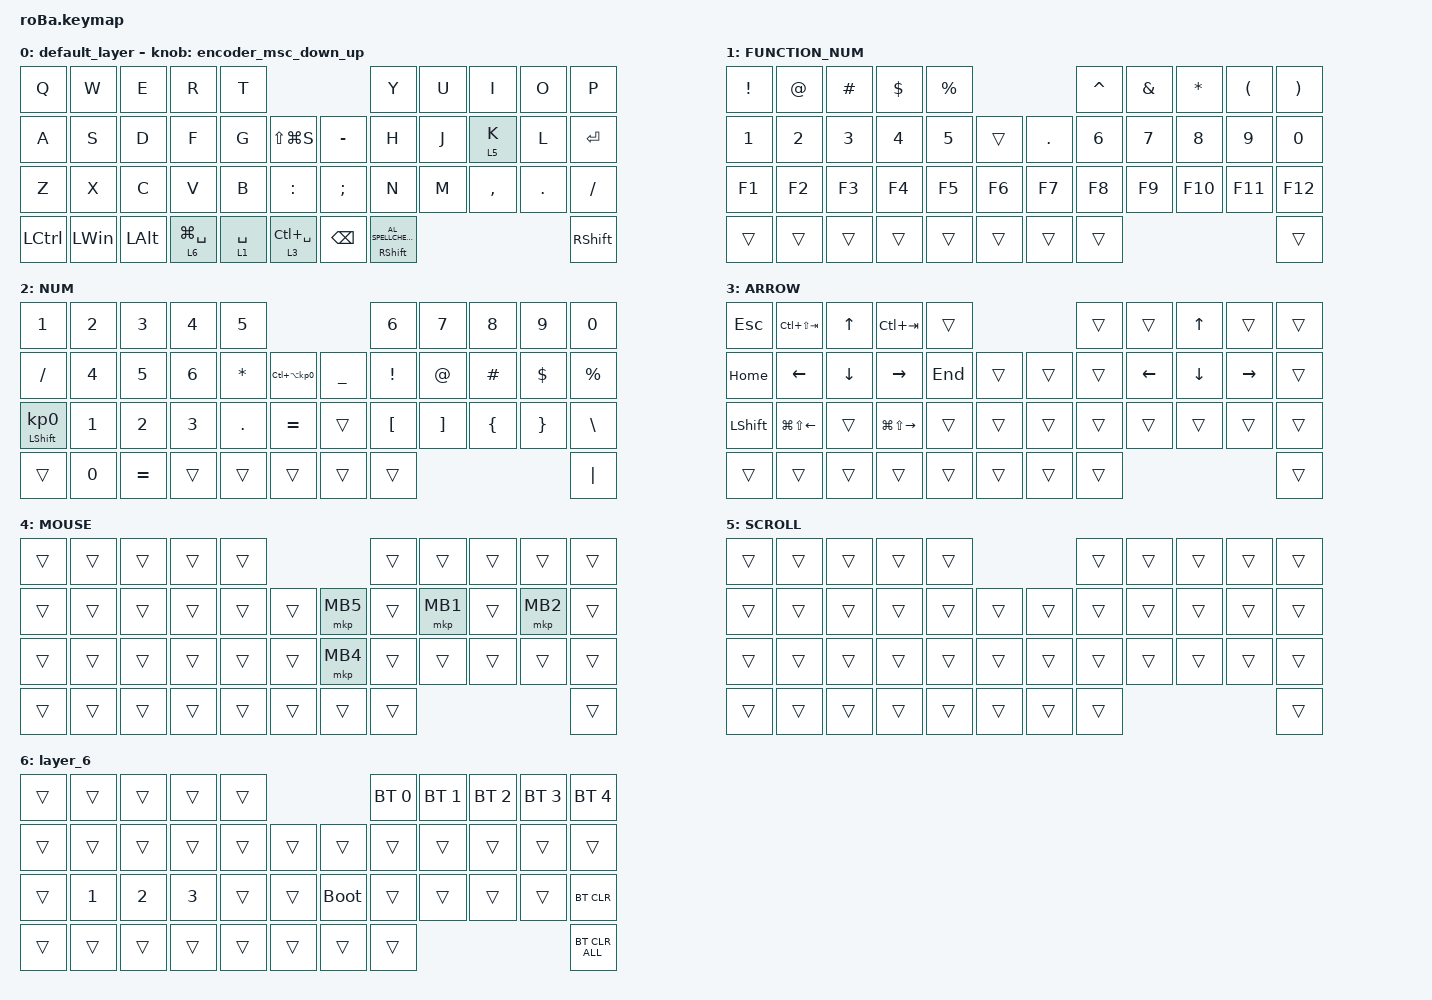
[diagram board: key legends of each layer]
#define ZMK_POINTING_DEFAULT_SCRL_VAL 80

#include <behaviors.dtsi>
#include <dt-bindings/zmk/bt.h>
#include <dt-bindings/zmk/keys.h>
#include <dt-bindings/zmk/pointing.h>

&mt {
    flavor = "balanced";
    quick-tap-ms = <0>;
};

&trackball {
    automouse-layer = <4>;
    scroll-layers = <5>;

    arrows {
        layers = <3>;
        bindings =
            <&kp RIGHT_ARROW>,
            <&kp LEFT_ARROW>,
            <&kp UP_ARROW>,
            <&kp DOWN_ARROW>;

        tick = <10>;
        wait-ms = <5>;
        tap-ms = <5>;
    };
};

/ {
    combos {
        compatible = "zmk,combos";

        tab {
            bindings = <&kp TAB>;
            key-positions = <11 12>;
        };

        shift_tab {
            bindings = <&kp LS(TAB)>;
            key-positions = <12 13>;
        };

        cut {
            bindings = <&kp LC(X)>;
            key-positions = <17 18>;
        };

        copy {
            bindings = <&kp LC(C)>;
            key-positions = <18 19>;
        };

        paste {
            bindings = <&kp LC(V)>;
            key-positions = <19 20>;
        };

        Enter {
            bindings = <&kp ENTER>;
            key-positions = <21 20>;
        };

        pin {
            bindings = <&pin_code>;
            key-positions = <8 9>;
        };
    };

    macros {
        to_layer_0: to_layer_0 {
            compatible = "zmk,behavior-macro-one-param";
            #binding-cells = <1>;
            bindings = <&to 0 &macro_param_1to1 &kp MACRO_PLACEHOLDER>;
            label = "TO_LAYER_0";
        };

        pin_code: pin_code {
            compatible = "zmk,behavior-macro";
            #binding-cells = <0>;
            bindings = <&kp N0 &kp N9 &kp N1 &kp N8 &kp N2 &kp N2 &kp N1 &kp N3>;
            label = "PIN_CODE";
        };
    };

    behaviors {
        lt_to_layer_0: lt_to_layer_0 {
            compatible = "zmk,behavior-hold-tap";
            label = "LAYER_TAP_TO_0";
            bindings = <&mo>, <&to_layer_0>;

            #binding-cells = <2>;
            tapping-term-ms = <200>;

            st: scroll_tap {
                compatible = "zmk,behavior-hold-tap";
                label = "Scroll / Tap";
                bindings = <&mo>, <&kp>;

                #binding-cells = <2>;
                tapping-term-ms = <200>;
                flavor = "balanced";
                hold-while-undecided;
            };

            encoder_msc_down_up: encoder_msc_down_up {
                compatible = "zmk,behavior-sensor-rotate";
                label = "ENCODER_MSC_DOWN_UP";
                #sensor-binding-cells = <0>;
                bindings = <&msc SCRL_DOWN>, <&msc SCRL_UP>;

                tap-ms = <20>;
            };
        };
    };

    keymap {
        compatible = "zmk,keymap";

        default_layer {
            bindings = <
&kp Q      &kp W         &kp E         &kp R            &kp T                                            &kp Y                            &kp U  &kp I      &kp O    &kp P
&kp A      &kp S         &kp D         &kp F            &kp G        &kp LS(LG(S))        &kp MINUS      &kp H                            &kp J  &st 5 K    &kp L    &kp ENTER
&kp Z      &kp X         &kp C         &kp V            &kp B        &kp COLON            &kp SEMICOLON  &kp N                            &kp M  &kp COMMA  &kp DOT  &kp SLASH
&kp LCTRL  &kp LEFT_WIN  &kp LEFT_ALT  &lt 6 LG(SPACE)  &lt 1 SPACE  &lt 3 LC(SPACE)      &kp BACKSPACE  &mt RIGHT_SHIFT C_AL_SPELLCHECK                             &kp RIGHT_SHIFT
            >;

            sensor-bindings = <&encoder_msc_down_up>;
        };

        FUNCTION_NUM {
            bindings = <
&kp EXCL      &kp AT        &kp HASH      &kp DLLR      &kp PRCNT                             &kp CARET     &kp AMPS      &kp ASTERISK  &kp LPAR      &kp RPAR
&kp NUMBER_1  &kp NUMBER_2  &kp NUMBER_3  &kp NUMBER_4  &kp NUMBER_5  &trans      &kp PERIOD  &kp NUMBER_6  &kp NUMBER_7  &kp NUMBER_8  &kp NUMBER_9  &kp NUMBER_0
&kp F1        &kp F2        &kp F3        &kp F4        &kp F5        &kp F6      &kp F7      &kp F8        &kp F9        &kp F10       &kp F11       &kp F12
&trans        &trans        &trans        &trans        &trans        &trans      &trans      &trans                                                  &trans
            >;
        };

        NUM {
            bindings = <
&kp NUMBER_1                &kp NUMBER_2  &kp NUMBER_3  &kp NUMBER_4  &kp NUMBER_5                                               &kp NUMBER_6      &kp NUMBER_7       &kp NUMBER_8    &kp NUMBER_9     &kp NUMBER_0
&kp SLASH                   &kp NUMBER_4  &kp N5        &kp NUMBER_6  &kp ASTERISK  &kp LC(LA(KP_NUMBER_0))      &kp UNDERSCORE  &kp EXCLAMATION   &kp AT_SIGN        &kp HASH        &kp DOLLAR       &kp PERCENT
&mt LEFT_SHIFT KP_NUMBER_0  &kp NUMBER_1  &kp NUMBER_2  &kp NUMBER_3  &kp PERIOD    &kp EQUAL                    &trans          &kp LEFT_BRACKET  &kp RIGHT_BRACKET  &kp LEFT_BRACE  &kp RIGHT_BRACE  &kp BACKSLASH
&trans                      &kp N0        &kp EQUAL     &trans        &trans        &trans                       &trans          &trans                                                                &kp PIPE
            >;
        };

        ARROW {
            bindings = <
&kp ESCAPE      &kp LC(LS(TAB))         &kp UP_ARROW    &kp LC(TAB)              &trans                       &trans  &trans    &kp UP_ARROW    &trans           &trans
&kp HOME        &kp LEFT_ARROW          &kp DOWN_ARROW  &kp RIGHT_ARROW          &kp END  &trans      &trans  &trans  &kp LEFT  &kp DOWN_ARROW  &kp RIGHT_ARROW  &trans
&kp LEFT_SHIFT  &kp LG(LS(LEFT_ARROW))  &trans          &kp LG(LS(RIGHT_ARROW))  &trans   &trans      &trans  &trans  &trans    &trans          &trans           &trans
&trans          &trans                  &trans          &trans                   &trans   &trans      &trans  &trans                                             &trans
            >;
        };

        MOUSE {
            bindings = <
&trans  &trans  &trans  &trans  &trans                        &trans  &trans    &trans  &trans    &trans
&trans  &trans  &trans  &trans  &trans  &trans      &mkp MB5  &trans  &mkp MB1  &trans  &mkp MB2  &trans
&trans  &trans  &trans  &trans  &trans  &trans      &mkp MB4  &trans  &trans    &trans  &trans    &trans
&trans  &trans  &trans  &trans  &trans  &trans      &trans    &trans                              &trans
            >;
        };

        SCROLL {
            bindings = <
&trans  &trans  &trans  &trans  &trans                      &trans  &trans  &trans  &trans  &trans
&trans  &trans  &trans  &trans  &trans  &trans      &trans  &trans  &trans  &trans  &trans  &trans
&trans  &trans  &trans  &trans  &trans  &trans      &trans  &trans  &trans  &trans  &trans  &trans
&trans  &trans  &trans  &trans  &trans  &trans      &trans  &trans                          &trans
            >;
        };

        layer_6 {
            bindings = <
&trans  &trans        &trans        &trans        &trans                           &bt BT_SEL 0  &bt BT_SEL 1  &bt BT_SEL 2  &bt BT_SEL 3  &bt BT_SEL 4
&trans  &trans        &trans        &trans        &trans  &trans      &trans       &trans        &trans        &trans        &trans        &trans
&trans  &kp NUMBER_1  &kp NUMBER_2  &kp NUMBER_3  &trans  &trans      &bootloader  &trans        &trans        &trans        &trans        &bt BT_CLR
&trans  &trans        &trans        &trans        &trans  &trans      &trans       &trans                                                  &bt BT_CLR_ALL
            >;
        };
    };
};
